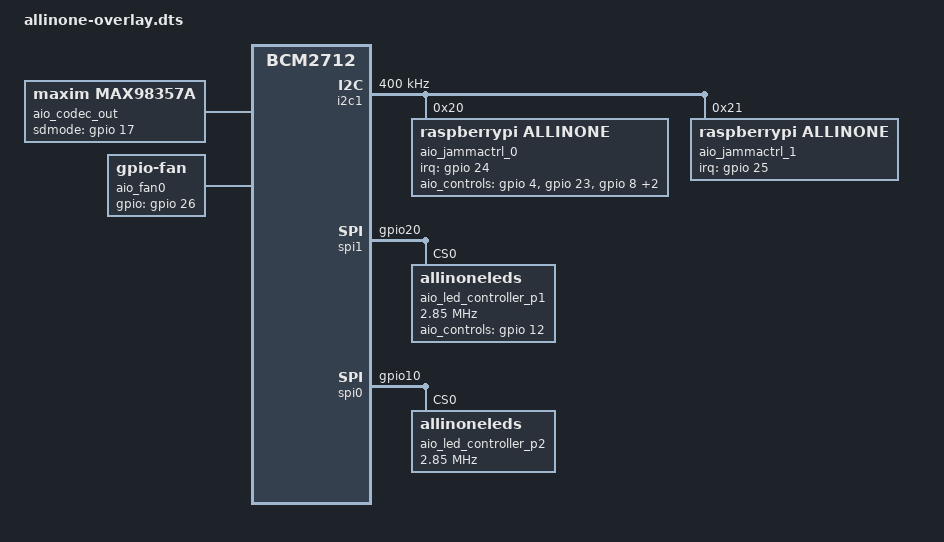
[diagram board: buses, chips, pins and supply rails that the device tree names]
/dts-v1/;
/plugin/;


/ {
    compatible = "brcm,bcm2712";

    fragment@0 {
        target = <&gpio>;
        __overlay__ {
            aio_controls_gpio: aio_controls_gpio_conf {
                // 4 = DAC, 23 = AMP, 8 = util, 22 = gain0, 27 = gain 1, 12 = led enable
                brcm,pins = <4 23 8 22 27 12>; //
                brcm,function = <1 1 0 1 1 1>; //
                brcm,pull = <0 0 2 0 0 0>; // Pull up
            };
        };
    };

    /* I2S Audio */
    fragment@100 {
        target = <&rp1_gpio>;
        __overlay__ {
            rp1_i2s0: rp1_i2s0 {
                function = "i2s0";
                pins = "gpio18", "gpio19", "gpio21";
                bias-disable;
            };
        };
    };
    fragment@101 {
        target = <&i2s_clk_producer>;
        __overlay__ {
            pinctrl-names = "default";
            pinctrl-0 = <&rp1_i2s0>;
            status = "okay";
        };
    };
    fragment@102 {
        target = <&sound>;
        __overlay__ {
            compatible = "simple-audio-card";
            simple-audio-card,name = "AllInOne";
            status = "okay";
            simple-audio-card,dai-link@1 {
                format = "i2s";
                cpu {
                    sound-dai = <&i2s_clk_producer>;
                    dai-tdm-slot-num = <2>;
                    dai-tdm-slot-width = <32>;
                };
                codec {
                    sound-dai = <&aio_codec_out>;
                };
            };
        };
    };
    fragment@103 {
        target-path = "/";
            __overlay__ {
            aio_codec_out: aio_codec_out {
                #sound-dai-cells = <0>;
                //compatible = "ti,pcm5102a";
                compatible = "maxim,max98357a";
                sdmode-gpios = <&gpio 17 0>;
                //sdmode-delay = <1000>;
                status = "okay";
            };
        };
    };

    /* I2C Controls */
    fragment@200 {
        target = <&gpio>;
        __overlay__ {
            irq_gpio_24: irq_gpio_24_conf {
                brcm,pins = <24>; // GPIO 24
                brcm,function = <0>; // Input
                brcm,pull = <2>; // Pull up
            };
            irq_gpio_25: irq_gpio_25_conf {
                brcm,pins = <25>; // GPIO 25
                brcm,function = <0>; // Input
                brcm,pull = <2>; // Pull up
            };
        };
    };
    fragment@201 {
        target = <&i2c1>;
        __overlay__ {
            status = "okay";
            pinctrl-names = "default";
            pinctrl-0 = <&rp1_i2c1_2_3>;
            clock-frequency = <400000>;
            read-timeout-ms = <50>;

            aio_jammactrl_0: aio_jammactrl_0@20 {
                compatible = "raspberrypi,allinone";
                reg = <0x20>;
                status = "okay";
                pinctrl-names = "default";
                pinctrl-0 = <&irq_gpio_24>;
                interrupt-parent = <&gpio>;
                interrupts = <24 2>;
                irq-gpios = <&gpio 24 0>;


                // Got to put that here, will do better later
                pinctrl-1 = <&aio_controls_gpio>;
                aio_controls-gpios = <&gpio 4 0>,<&gpio 23 0>,<&gpio 8 0>,<&gpio 22 0>,<&gpio 27 0>;
                disable_amp = <0>;
                amp_boost_1 = <0>;
                amp_boost_2 = <0>;
                hk_on_start = <0>;
                sound_on_start = <0>;
                credit_on_start_btn1 = <0>;
                exit_on_start = <0>;
                autofire = <0>;
                p1_credits_also_p2 = <0>;

                buttons = <6>;
                start = <1>;
                coin = <1>;
                hotkey = <1>;
            };
            aio_jammactrl_1: aio_jammactrl_1@21 {
                compatible = "raspberrypi,allinone";
                reg = <0x21>;
                status = "okay";
                pinctrl-names = "default";
                pinctrl-0 = <&irq_gpio_25>;
                interrupt-parent = <&gpio>;
                interrupts = <25 2>;
                irq-gpios = <&gpio 25 0>;

                buttons = <6>;
                start = <1>;
                coin = <1>;
                hotkey = <1>;
            };
        };
    };



    /* FAN */
    fragment@300 {
        target-path = "/";
        __overlay__ {
            aio_fan0: gpio-fan@0 {
                compatible = "gpio-fan";
                gpios = <&gpio 26 0>;
                gpio-fan,speed-map = <0    0>,
                                     <5000 1>;
                #cooling-cells = <2>;
            };
        };
    };
    fragment@301 {
        target = <&cpu_thermal>;
        polling-delay = <5000>;    /* milliseconds */
        __overlay__ {
            trips {
                cpu_hot: trip-point@0 {
                    temperature = <60000>;    /* (millicelsius) Fan started at 60°C */
                    hysteresis = <10000>;    /* (millicelsius) Fan stopped at 50°C */
                    type = "active";
                };
            };
            cooling-maps {
                map0 {
                    trip = <&cpu_hot>;
                    cooling-device = <&aio_fan0 1 1>;
                };
            };
        };
    };


    /* SPI LEDS WITH PROTO 2.0 */
    fragment@400 {
        target = <&rp1_gpio>;
        __overlay__ {
            aio_spi1_20: aio_spi1_20 {
                function = "spi1";
                pins = "gpio20";
                bias-disable;
                drive-strength = <12>;
                slew-rate = <1>;
            };
        };
    };
    fragment@401 {
        target = <&spidev1>;
        __overlay__ {
            status = "disabled";
        };
    };
    fragment@402 {
        target = <&spidev0>;
        __overlay__ {
            status = "disabled";
        };
    };
    fragment@403 {
        target = <&spi1>;
        __overlay__ {
            #address-cells = <1>;
            #size-cells = <0>;
            pinctrl-names = "default";
            pinctrl-0 = <&aio_spi1_20>;
            status = "okay";
            cs-gpios;

            aio_led_controller_p1: aio_led_controller_p1@0 {
                compatible = "allinoneleds";
                reg = <0>;
                #address-cells = <1>;
                #size-cells = <0>;
                spi-max-frequency = <2850000>;

                pinctrl-names = "default";
                pinctrl-0 = <&aio_controls_gpio>;
                aio_controls-gpios = <&gpio 12 0>;

                player = <1>;

            };
        };
    };

    fragment@404 {
        target = <&rp1_gpio>;
        __overlay__ {
            aio_spi0_10: aio_spi0_10 {
                function = "spi0";
                pins = "gpio10";
                bias-disable;
                drive-strength = <12>;
                slew-rate = <1>;
            };
        };
    };

    fragment@405 {
        target = <&spi0>;
        __overlay__ {
            #address-cells = <1>;
            #size-cells = <0>;
            pinctrl-names = "default";
            pinctrl-0 = <&aio_spi0_10>;
            status = "okay";
            cs-gpios;

            aio_led_controller_p2: aio_led_controller_p2@0 {
                compatible = "allinoneleds";
                reg = <0>;
                #address-cells = <1>;
                #size-cells = <0>;
                spi-max-frequency = <2850000>;

                player = <2>;

            };
        };
    };

    __overrides__ {
        disable_amp = <&aio_jammactrl_0>,"disable_amp:0";
        amp_boost_1 = <&aio_jammactrl_0>,"amp_boost_1:0";
        amp_boost_2 = <&aio_jammactrl_0>,"amp_boost_2:0";
        hk_on_start = <&aio_jammactrl_0>,"hk_on_start:0";
        sound_on_start = <&aio_jammactrl_0>,"sound_on_start:0";
        credit_on_start_btn1 = <&aio_jammactrl_0>,"credit_on_start_btn1:0";
        exit_on_start = <&aio_jammactrl_0>,"exit_on_start:0";
        autofire = <&aio_jammactrl_0>,"autofire:0";
        p1_credits_also_p2 = <&aio_jammactrl_0>,"p1_credits_also_p2:0";
        p1_buttons = <&aio_jammactrl_0>,"buttons:0";
        p1_start = <&aio_jammactrl_0>,"start:0";
        p1_coin = <&aio_jammactrl_0>,"coin:0";
        p1_hotkey = <&aio_jammactrl_0>,"hotkey:0";
        p2_buttons = <&aio_jammactrl_1>,"buttons:0";
        p2_start = <&aio_jammactrl_1>,"start:0";
        p2_coin = <&aio_jammactrl_1>,"coin:0";
        p2_hotkey = <&aio_jammactrl_1>,"hotkey:0";
        /* RGB */
        p1_rgb_buttons = <&aio_led_controller_p1>,"rgb_buttons:0";
        p1_rgb_start = <&aio_led_controller_p1>,"rgb_start:0";
        p1_rgb_coin = <&aio_led_controller_p1>,"rgb_coin:0";
        p1_rgb_hotkey = <&aio_led_controller_p1>,"rgb_hotkey:0";
        p2_rgb_buttons = <&aio_led_controller_p2>,"rgb_buttons:0";
        p2_rgb_start = <&aio_led_controller_p2>,"rgb_start:0";
        p2_rgb_coin = <&aio_led_controller_p2>,"rgb_coin:0";
        p2_rgb_hotkey = <&aio_led_controller_p2>,"rgb_hotkey:0";
    };

/*
    Overrides
    All values are defaulted to "no"

    Audio:
        - disable_amp: disable integrated audio amp. Can be forced when you use an external amp
        - amp_boost_1, amp_boost_2: boot audio amp. You should not need that, as the amplification is already high.

    Controls:
    Par default, la configuration du AllInOne permet de gerer 6 boutons de jeu par joueur, plus start + select + hotkey pour chaque joueur.
    Pour surcharger la configuration, utilisez les elements suivants:
        - p1_buttons: number of buttons for p1 (1 to 8)
        - p1_start: if p1 has no start button, use p1_start=0
        - p1_coin: if p1 has no coin button, use p1_coin=0
        - p1_hotkey: if p1 has no hotkey button, use p1_hotkey=0
        - p2_buttons: number of buttons for p2 (1 to 8)
        - p2_start: if p2 has no start button, use p2_start=0
        - p2_coin: if p2 has no coin button, use p2_coin=0
        - p2_hotkey: if p2 has no hotkey button, use p2_hotkey=0

    Les raccourcis sont tous desactivés, vous pouvez les activer en utilisant les elements suivants:
        - hk_on_start: Enable hotkey on start. If you do not have hotkey button, you can use start button as hotkey.
        - sound_on_start: Enable the shortcut for start + UP and DOWN to change sound volume.
        - credit_on_start_btn1: Enable the shortcut for use start + BTN1 to add a credit (works for both P1 and P2). Can be used when you have no credit button.
        - exit_on_start: Enable the shortcut for pressing start 4 seconds and release to exit a game. Use when you don't have hotkey button.
        - autofire: Keep Start pressed, then press a button for 4 seconds to enable autofire for this button.
        - p1_credits_also_p2: when credit is pressed on P1, it also send the credit on P2. Can be used if you have only 1 credit button, and want to play games like Cadillac and Dino, etc...

    Exemple: votre config est la suivante: 8 boutons par joueurs, start, et un seul coin pour les deux joueurs.
    Le plus interessant sera d'utiliser le bouton start du joueur 1 comme hotkey, et de doubler les coin sur l'unique bouton coin (ou votre monnayeur)
    dtoverlay=allinone,p1_buttons=8,p2_buttons=8,p1_hotkey=0,p2_hotkey=0,p2_coin=0,hk_on_start,exit_on_start,p1_credits_also_p2

    Exemple: votre config est celle d'une borne d'arcade neogeo : 4 boutons par joueur, start pour chaque joueur et 1 monnayeur.
    Le bouton start du joueur sera utilisé 1 comme hotkey, et les coin peuvent etre doublés sur votre monnayeur.
    dtoverlay=allinone,p1_buttons=4,p2_buttons=4,hk_on_start,exit_on_start,p1_credits_also_p2
*/
};
